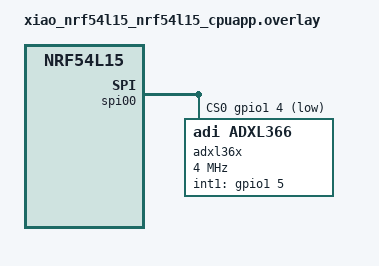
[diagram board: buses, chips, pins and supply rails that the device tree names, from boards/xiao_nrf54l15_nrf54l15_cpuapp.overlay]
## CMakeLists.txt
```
cmake_minimum_required(VERSION 3.20.0)

set(_board_roots ${CMAKE_CURRENT_SOURCE_DIR})

set(_local_board_root ${CMAKE_CURRENT_SOURCE_DIR}/__boards__)
if(EXISTS ${_local_board_root})
  list(APPEND _board_roots ${_local_board_root})
endif()

if(DEFINED BOARD_ROOT)
  list(APPEND _board_roots ${BOARD_ROOT})
endif()

list(REMOVE_DUPLICATES _board_roots)
set(BOARD_ROOT "${_board_roots}" CACHE STRING "" FORCE)

string(REPLACE "/" "_" _board_overlay_name "${BOARD}")
set(_candidate_overlays
  ${CMAKE_CURRENT_SOURCE_DIR}/boards/${_board_overlay_name}.overlay
  ${CMAKE_CURRENT_SOURCE_DIR}/__boards__/${_board_overlay_name}.overlay
)

foreach(_overlay ${_candidate_overlays})
  if(EXISTS ${_overlay})
    if(DEFINED DTC_OVERLAY_FILE)
      list(APPEND DTC_OVERLAY_FILE ${_overlay})
    else()
      set(DTC_OVERLAY_FILE ${_overlay})
    endif()
  endif()
endforeach()

if(DEFINED DTC_OVERLAY_FILE)
  list(REMOVE_DUPLICATES DTC_OVERLAY_FILE)
  set(DTC_OVERLAY_FILE "${DTC_OVERLAY_FILE}" CACHE STRING "" FORCE)
endif()

find_package(Zephyr REQUIRED HINTS $ENV{ZEPHYR_BASE})

project(adxl366)

target_sources(app PRIVATE src/main.c)

target_include_directories(app PRIVATE
  ${ZEPHYR_BASE}/drivers/sensor/adi/adxl367
)
```

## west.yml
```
manifest:
  self:
    path: application
  remotes:
    - name: nrf
      url-base: https://github.com/nrfconnect
  projects:
    - name: sdk-nrf
      remote: nrf
      path: nrf
      revision: main
      import:
        path-prefix: external
      clone-depth: 1
```

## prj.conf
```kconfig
CONFIG_LOG=y
CONFIG_LOG_DEFAULT_LEVEL=3
CONFIG_CBPRINTF_FP_SUPPORT=y

CONFIG_SENSOR=y
CONFIG_I2C=y
CONFIG_ADXL367=y
CONFIG_ADXL367_ACTIVITY_DETECTION_MODE=n
CONFIG_ADXL367_INACTIVITY_DETECTION_MODE=n
CONFIG_ADXL367_REFERENCED_ACTIVITY_DETECTION_MODE=n
CONFIG_ADXL367_REFERENCED_INACTIVITY_DETECTION_MODE=n

CONFIG_SENSOR_LOG_LEVEL_DBG=y

CONFIG_MAIN_STACK_SIZE=4096
CONFIG_SYSTEM_WORKQUEUE_STACK_SIZE=2048

CONFIG_BT=y
CONFIG_BT_PERIPHERAL=y
CONFIG_BT_DEVICE_NAME="ADXL366 Streamer"
CONFIG_BT_MAX_CONN=1
CONFIG_BT_MAX_PAIRED=1
```

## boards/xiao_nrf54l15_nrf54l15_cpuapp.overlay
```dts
&spi00 {
	status = "okay";
	cs-gpios = <&gpio1 4 GPIO_ACTIVE_LOW>;

	adxl36x: adxl366@0 {
		compatible = "adi,adxl366";
		reg = <0>;
		odr = <4>; // 200 Hz
		spi-max-frequency = <4000000>;
		int1-gpios = <&gpio1 5 GPIO_ACTIVE_HIGH>;
		status = "okay";
	};
};
```

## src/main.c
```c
#include <errno.h>

#include <zephyr/bluetooth/bluetooth.h>
#include <zephyr/bluetooth/gatt.h>
#include <zephyr/bluetooth/conn.h>
#include <zephyr/bluetooth/addr.h>
#include <zephyr/device.h>
#include "adxl367.h"
#include <zephyr/drivers/sensor.h>
#include <zephyr/kernel.h>
#include <zephyr/logging/log.h>
#include <zephyr/sys/util.h>

LOG_MODULE_REGISTER(app);

#define BT_UUID_ACCEL_SERVICE_VAL \
	BT_UUID_128_ENCODE(0x045b2c8b, 0x45f0, 0x4c69, 0x9d23, 0x5a4cedf0d079)
#define BT_UUID_ACCEL_MEASUREMENT_VAL \
	BT_UUID_128_ENCODE(0x045b2c8c, 0x45f0, 0x4c69, 0x9d23, 0x5a4cedf0d079)

#define BT_UUID_ACCEL_SERVICE BT_UUID_DECLARE_128(BT_UUID_ACCEL_SERVICE_VAL)
#define BT_UUID_ACCEL_MEASUREMENT BT_UUID_DECLARE_128(BT_UUID_ACCEL_MEASUREMENT_VAL)

static bool accel_notify_enabled;
static struct bt_conn *default_conn;

static void conn_param_update_work_handler(struct k_work *work);
static K_WORK_DELAYABLE_DEFINE(conn_param_update_work,
			       conn_param_update_work_handler);

static void accel_ccc_cfg_changed(const struct bt_gatt_attr *attr, uint16_t value)
{
	accel_notify_enabled = (value == BT_GATT_CCC_NOTIFY);
	LOG_INF("Acceleration notifications %s", accel_notify_enabled ? "enabled" : "disabled");
}

BT_GATT_SERVICE_DEFINE(accel_svc,
	BT_GATT_PRIMARY_SERVICE(BT_UUID_ACCEL_SERVICE),
	BT_GATT_CHARACTERISTIC(BT_UUID_ACCEL_MEASUREMENT,
			       BT_GATT_CHRC_NOTIFY,
			       BT_GATT_PERM_NONE,
			       NULL, NULL, NULL),
	BT_GATT_CCC(accel_ccc_cfg_changed,
		    BT_GATT_PERM_READ | BT_GATT_PERM_WRITE)
);

static K_SEM_DEFINE(bt_ready_sem, 0, 1);

static const struct bt_data ad[] = {
	BT_DATA_BYTES(BT_DATA_FLAGS, (BT_LE_AD_GENERAL | BT_LE_AD_NO_BREDR)),
	BT_DATA_BYTES(BT_DATA_UUID128_ALL, BT_UUID_ACCEL_SERVICE_VAL),
};

static const struct bt_data sd[] = {
	BT_DATA(BT_DATA_NAME_COMPLETE, CONFIG_BT_DEVICE_NAME, sizeof(CONFIG_BT_DEVICE_NAME) - 1),
};

static int start_advertising(void)
{
	int err = bt_le_adv_start(BT_LE_ADV_CONN_FAST_1, ad, ARRAY_SIZE(ad), sd, ARRAY_SIZE(sd));

	if (err && err != -EALREADY) {
		LOG_ERR("Advertising start failed (%d)", err);
		return err;
	}

	if (!err) {
		LOG_INF("Bluetooth advertising started");
	}

	return 0;
}

static void connected(struct bt_conn *conn, uint8_t err)
{
	char addr[BT_ADDR_LE_STR_LEN];

	bt_addr_le_to_str(bt_conn_get_dst(conn), addr, sizeof(addr));

	if (err) {
		LOG_ERR("Connection to %s failed (0x%02x)", addr, err);
		return;
	}

	LOG_INF("Connected to %s", addr);

	if (default_conn) {
		bt_conn_unref(default_conn);
		default_conn = NULL;
	}

	default_conn = bt_conn_ref(conn);

	int rc = k_work_reschedule(&conn_param_update_work, K_MSEC(100));

	if (rc < 0) {
		LOG_WRN("Failed to schedule connection parameter update (%d)", rc);
	}
}

static void disconnected(struct bt_conn *conn, uint8_t reason)
{
	char addr[BT_ADDR_LE_STR_LEN];

	bt_addr_le_to_str(bt_conn_get_dst(conn), addr, sizeof(addr));

	LOG_INF("Disconnected from %s (reason 0x%02x)", addr, reason);

	int err = start_advertising();
	if (err) {
		LOG_ERR("Failed to resume advertising (%d)", err);
	}

	(void)k_work_cancel_delayable(&conn_param_update_work);

	if (default_conn) {
		bt_conn_unref(default_conn);
		default_conn = NULL;
	}
}

BT_CONN_CB_DEFINE(conn_callbacks) = {
	.connected = connected,
	.disconnected = disconnected,
};

static void conn_param_update_work_handler(struct k_work *work)
{
	ARG_UNUSED(work);

	struct bt_conn *conn = default_conn;

	if (!conn) {
		return;
	}

	int rc = bt_conn_le_param_update(conn, BT_LE_CONN_PARAM(6, 12, 0, 400));

	if (rc) {
		LOG_WRN("Failed to request connection parameter update (%d)", rc);
	}

	bt_conn_unref(conn);
	default_conn = NULL;
}

static double adxl36x_odr_hz(const struct device *dev)
{
	static const double odr_table[] = {12.5, 25.0, 50.0, 100.0, 200.0, 400.0};
	enum adxl367_odr odr = ADXL367_ODR_12P5HZ;

	if (!device_is_ready(dev)) {
		return odr_table[odr];
	}

#if IS_ENABLED(CONFIG_ADXL367_STREAM)
	const struct adxl367_data *data = dev->data;

	odr = data->odr;
#else
	const struct adxl367_dev_config *cfg = dev->config;

	odr = cfg->odr;
#endif

	if (odr >= ARRAY_SIZE(odr_table)) {
		return odr_table[ADXL367_ODR_12P5HZ];
	}

	return odr_table[odr];
}

struct accel_sample {
	float x;
	float y;
	float z;
};

static void publish_accel(const struct accel_sample *sample)
{
	if (!accel_notify_enabled) {
		return;
	}

	int err = bt_gatt_notify(NULL, &accel_svc.attrs[2], sample, sizeof(*sample));

	if (err && err != -ENOTCONN) {
		LOG_WRN("Failed to send notification (%d)", err);
	}
}

static void bluetooth_ready(int err)
{
	if (err) {
		LOG_ERR("Bluetooth init failed (%d)", err);
		k_sem_give(&bt_ready_sem);
		return;
	}

	(void)start_advertising();

	k_sem_give(&bt_ready_sem);
}

static double accel_to_ms2(const struct sensor_value *val)
{
	return sensor_value_to_double(val);
}

static double accel_to_g(const struct sensor_value *val)
{
	const double ms2_per_g = (double)SENSOR_G / 1000000.0;

	return accel_to_ms2(val) / ms2_per_g;
}

int main(void)
{
	const struct device *dev = DEVICE_DT_GET_ANY(adi_adxl367);

	if (dev == NULL) {
		dev = DEVICE_DT_GET_ANY(adi_adxl366);
	}

	if (dev == NULL) {
		LOG_ERR("No ADXL36x device found in devicetree");
		return 0;
	}
	int err;

	if (!device_is_ready(dev)) {
		LOG_ERR("Accelerometer device is not ready");
		return 0;
	}

	LOG_INF("Accelerometer ready, streaming acceleration samples");
	const double odr_hz = adxl36x_odr_hz(dev);
	uint32_t sample_period_us = 0U;

	if (odr_hz > 0.0) {
		sample_period_us = (uint32_t)(1000000.0 / odr_hz);

		if (sample_period_us == 0U) {
			sample_period_us = 1U;
		}
	}

	LOG_INF("Accelerometer sampling rate set to %.1f Hz", odr_hz);

	err = bt_enable(bluetooth_ready);
	if (err) {
		LOG_ERR("Bluetooth enable failed (%d)", err);
	} else {
		k_sem_take(&bt_ready_sem, K_FOREVER);
	}

	int64_t next_log_ms = k_uptime_get() + 1000;

	while (true) {
		struct sensor_value accel[3];
		err = sensor_sample_fetch(dev);

		if (err) {
			LOG_ERR("Sample fetch failed (%d)", err);
			k_sleep(K_MSEC(100));
			continue;
		}

		err = sensor_channel_get(dev, SENSOR_CHAN_ACCEL_XYZ, accel);
		if (err) {
			LOG_ERR("Channel get failed (%d)", err);
			k_sleep(K_MSEC(100));
			continue;
		}

		const double accel_ms2[3] = {
			accel_to_ms2(&accel[0]),
			accel_to_ms2(&accel[1]),
			accel_to_ms2(&accel[2]),
		};

		const struct accel_sample sample = {
			.x = (float)accel_ms2[0],
			.y = (float)accel_ms2[1],
			.z = (float)accel_ms2[2],
		};

		publish_accel(&sample);

		if (k_uptime_get() >= next_log_ms) {
			LOG_INF("Accel [m/s^2]: X=%.3f Y=%.3f Z=%.3f | [g]: X=%.3f Y=%.3f Z=%.3f",
				accel_ms2[0],
				accel_ms2[1],
				accel_ms2[2],
				accel_to_g(&accel[0]),
				accel_to_g(&accel[1]),
				accel_to_g(&accel[2]));

			next_log_ms += 1000;
		}

		if (sample_period_us > 0U) {
			k_usleep(sample_period_us);
		} else {
			k_yield();
		}
	}

	return 0;
}
```
